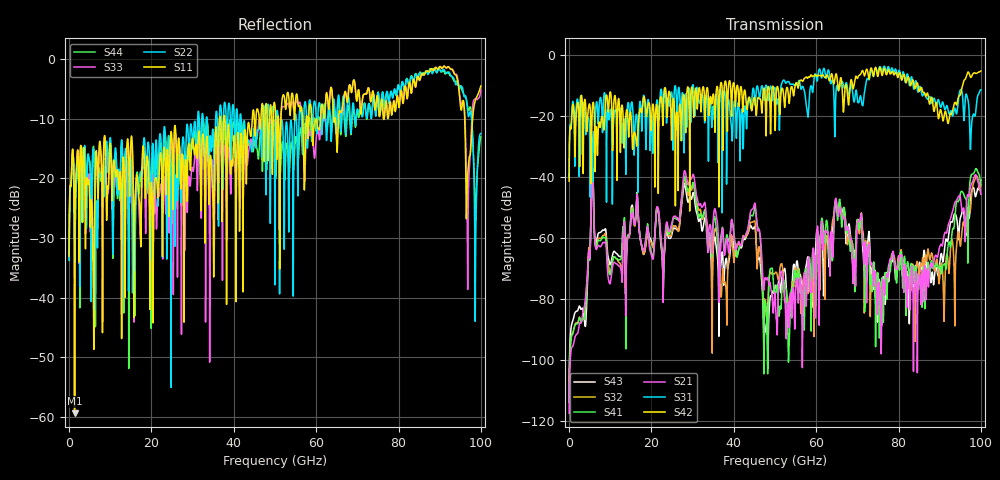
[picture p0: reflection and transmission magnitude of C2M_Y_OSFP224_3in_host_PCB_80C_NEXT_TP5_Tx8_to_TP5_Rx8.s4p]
# GHz S RI R 45
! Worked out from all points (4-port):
!   4000 points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, 25 MHz to 100 GHz, reference 45 ohm
!   strongest paths, dB at 25 MHz, 25.02 GHz, 50.02 GHz, 75.03 GHz, 100 GHz:
!     S42: -41.4, -21.0, -24.0, -7.1, -5.4
!     S31: -40.1, -13.3, -10.9, -6.3, -11.5
!     S21: -117.4, -54.9, -78.6, -77.4, -45.7
!     S41: -113.8, -55.7, -78.2, -71.8, -42.6
!     S32: -113.5, -57.6, -71.5, -75.0, -42.6
!     S43: -110.4, -58.5, -75.8, -78.5, -41.1
!   lowest |S11| = -59.4 dB at 1.35 GHz (marker M1), VSWR 1.00, Z = 44.9 - j0.0541 ohm
!   |S11| at or under -10 dB: start of sweep to 36.53 GHz; 37.83 GHz to 44.49 GHz (6.656 GHz wide, 16.2 % of centre); 96.08 GHz to 98 GHz (1.925 GHz wide, 1.98 % of centre) (the widest 3 of 19)
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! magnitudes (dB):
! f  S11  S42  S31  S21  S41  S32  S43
! 25 MHz  -33.0  -41.4  -40.1  -117.4  -113.8  -113.5  -110.4
! 1.35 GHz  -59.4  -25.0  -29.9  -92.9  -88.9  -88.7  -84.8
! 5.7 GHz  -28.9  -16.8  -39.2  -39.0  -39.0  -38.9  -38.8
! 9.875 GHz  -14.8  -12.9  -19.4  -75.0  -72.0  -71.3  -68.5
! 44.88 GHz  -8.8  -14.2  -11.5  -49.7  -51.5  -54.6  -56.6
! 53.38 GHz  -6.5  -15.3  -8.9  -89.3  -97.5  -82.5  -83.1
! 100 GHz  -4.5  -5.4  -11.5  -45.7  -42.6  -42.6  -41.1
